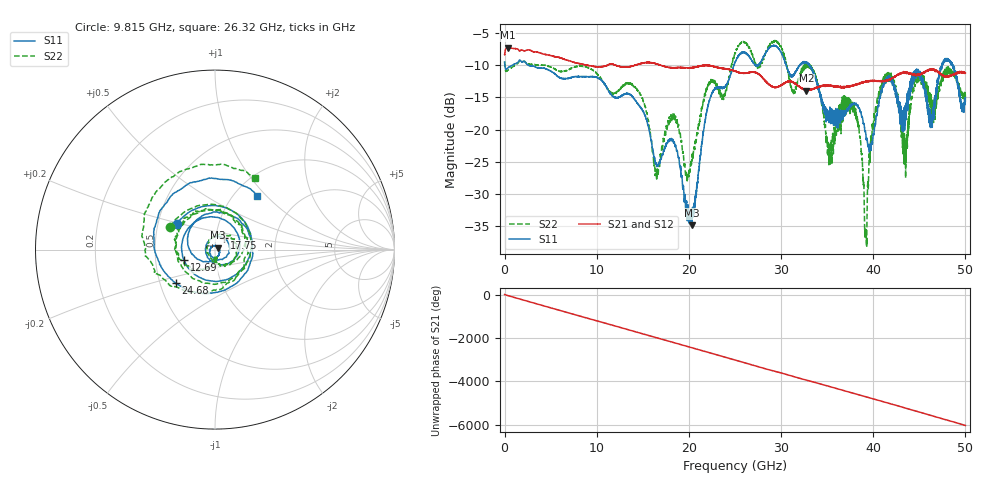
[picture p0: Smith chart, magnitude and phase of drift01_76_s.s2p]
!Created with skrf (http://scikit-rf.org).
# Hz S RI R 50.0
!freq ReS11 ImS11 ReS21 ImS21 ReS12 ImS12 ReS22 ImS22
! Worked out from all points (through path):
!   10001 points, 300 kHz to 50 GHz, reference 50 ohm
!   highest |S21| = -7.32 dB at 325.3 MHz (marker M1); lowest = -14.0 dB at 32.76 GHz (marker M2)
!   group delay of S21, straight-line fit = 335 ps
!   lowest |S11| = -34.8 dB at 20.32 GHz (marker M3), VSWR 1.04, Z = 51.5 + j1.13 ohm
!   |S11| at or under -10 dB: 2.554 GHz to 24.9 GHz (22.35 GHz wide, 163 % of centre); 30.54 GHz to 32.04 GHz (1.503 GHz wide, 4.8 % of centre); 33.07 GHz to 47.44 GHz (14.37 GHz wide, 35.7 % of centre) (the widest 3 of 18)
!   |S22| runs from -38.1 to -6.2 dB; largest |S21 - S12| = 0.011
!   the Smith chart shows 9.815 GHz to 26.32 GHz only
!   S11 on the Smith chart (normalised r, x): 9.815 GHz: 0.63, +0.19; 12.69 GHz: 0.70, -0.09; 17.75 GHz: 1.10, +0.14; 24.68 GHz: 0.60, -0.25; 26.32 GHz: 1.27, +0.89
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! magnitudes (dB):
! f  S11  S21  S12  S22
! 300 kHz  -9.5  -8.4  -8.4  -9.5
! 325.3 MHz  -10.5  -7.3  -7.3  -10.9
! 8.335 GHz  -11.8  -9.8  -9.8  -10.2
! 9.815 GHz  -11.8  -10.2  -10.2  -11.1
! 12.69 GHz  -14.8  -10.3  -10.3  -13.3
! 16.67 GHz  -25.6  -9.9  -9.9  -26.8
! 17.75 GHz  -21.7  -10.4  -10.4  -18.9
! 20.32 GHz  -34.8  -10.4  -10.4  -24.9
! 22.24 GHz  -15.5  -10.1  -10.1  -12.7
! 24.68 GHz  -10.8  -10.8  -10.8  -9.8
! 25 GHz  -9.6  -11.0  -11.0  -8.1
! 26.32 GHz  -8.4  -11.2  -11.2  -6.9
! 32.76 GHz  -9.6  -14.0  -13.8  -10.1
! 33.34 GHz  -10.7  -13.8  -13.7  -10.5
! 35.28 GHz  -18.3  -13.2  -13.2  -22.5
! 37.95 GHz  -16.0  -13.1  -13.1  -17.3
! 39.23 GHz  -21.0  -12.5  -12.5  -35.9
! 40.1 GHz  -20.5  -12.5  -12.5  -17.8
! 41.67 GHz  -11.7  -12.2  -12.2  -11.7
! 43.43 GHz  -18.3  -11.3  -11.3  -22.4
! 44.85 GHz  -10.7  -11.5  -11.6  -11.9
! 50 GHz  -15.6  -11.3  -11.3  -15.0
